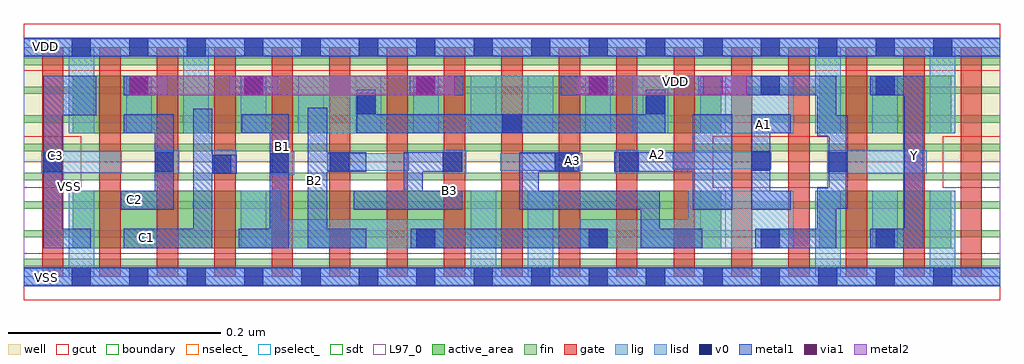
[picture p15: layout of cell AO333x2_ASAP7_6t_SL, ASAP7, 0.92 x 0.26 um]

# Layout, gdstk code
import gdstk
lib = gdstk.Library(unit=1e-6, precision=2.5e-10)
def R(c, l, rs):  # rectangles x0, y0, x1, y1
    for r in rs: c.add(gdstk.rectangle(r[:2], r[2:], *l))
def A(c, l, x, y, w, h, nx, ny, dx, dy):  # array of equal rectangles
    R(c, l, [(x+i*dx, y+j*dy, x+i*dx+w, y+j*dy+h) for i in range(nx) for j in range(ny)])
def P(c, l, *ps):  # polygons
    for p in ps: c.add(gdstk.Polygon(p, *l))
well = (1, 0)
fin = (2, 0)
gate = (7, 0)
gcut = (10, 0)
active_area = (11, 0)
nselect_ = (12, 0)
pselect_ = (13, 0)
lig = (16, 0)
lisd = (17, 0)
v0 = (18, 0)
metal1 = (19, 0)
metal2 = (20, 0)
via1 = (21, 0)
sdt = (88, 0)
L97_0 = (97, 0)
boundary = (100, 0)

ao333x2_asap7_6t_sl = lib.new_cell('AO333x2_ASAP7_6t_SL')
R(ao333x2_asap7_6t_sl, well, [(0,0.108,0.702,0.216), (0.702,0.108,0.918,0.216), (0.702,0.108,0.864,0.216)])
A(ao333x2_asap7_6t_sl, fin, 0, 0.01, 0.702, 0.007, 1, 8, 0, 0.027)
A(ao333x2_asap7_6t_sl, fin, 0.702, 0.01, 0.216, 0.007, 1, 8, 0, 0.027)
A(ao333x2_asap7_6t_sl, fin, 0.702, 0.01, 0.162, 0.007, 1, 8, 0, 0.027)
A(ao333x2_asap7_6t_sl, gate, 0.017, 0, 0.02, 0.216, 17, 1, 0.054, 0)
R(ao333x2_asap7_6t_sl, gcut, [(0,-0.022,0.918,0.022), (0,0.084,0.054,0.132), (0.648,0.084,0.756,0.132), (0.864,0.084,0.918,0.132), (0,0.194,0.918,0.238)])
R(ao333x2_asap7_6t_sl, active_area, [(0.046,0.027,0.656,0.081), (0.748,0.027,0.872,0.081), (0.748,0.027,0.818,0.081), (0.046,0.135,0.656,0.189), (0.748,0.135,0.872,0.189), (0.748,0.135,0.818,0.189)])
R(ao333x2_asap7_6t_sl, nselect_, [(0,0,0.702,0.108), (0.702,0,0.918,0.108), (0.702,0,0.864,0.108)])
R(ao333x2_asap7_6t_sl, pselect_, [(0,0.108,0.702,0.216), (0.702,0.108,0.918,0.216), (0.702,0.108,0.864,0.216)])
R(ao333x2_asap7_6t_sl, lig, [(0,-0.008,0.918,0.008), (0.231,0.096,0.254,0.118), (0.123,0.097,0.146,0.119), (0.177,0.097,0.2,0.119), (0.394,0.097,0.416,0.119), (0.556,0.097,0.578,0.119), (0.756,0.097,0.849,0.119), (0.016,0.098,0.092,0.118), (0.285,0.1,0.362,0.116), (0.448,0.1,0.525,0.116), (0.61,0.101,0.703,0.117), (0,0.208,0.918,0.224)])
A(ao333x2_asap7_6t_sl, lisd, 0.204, 0.135, 0.024, 0.054, 3, 1, 0.162, 0)
R(ao333x2_asap7_6t_sl, lisd, [(0.042,0,0.066,0.081), (0.42,0,0.444,0.081), (0.474,0,0.498,0.081), (0.744,0,0.768,0.081), (0.744,0,0.768,0.081), (0.852,0,0.876,0.081), (0.798,0.027,0.822,0.081), (0.798,0.027,0.822,0.081), (0.042,0.135,0.066,0.216), (0.096,0.135,0.12,0.189), (0.15,0.135,0.174,0.216), (0.258,0.135,0.336,0.189), (0.42,0.135,0.498,0.189), (0.572,0.135,0.606,0.189), (0.636,0.135,0.724,0.189), (0.744,0.135,0.768,0.216), (0.744,0.135,0.768,0.216), (0.798,0.135,0.822,0.189), (0.798,0.135,0.822,0.189), (0.852,0.135,0.876,0.216)])
P(ao333x2_asap7_6t_sl, lisd, [(0.395,0.054),(0.242,0.054),(0.242,0.081),(0.204,0.081),(0.204,0.027),(0.395,0.027)],
  [(0.724,0.081),(0.625,0.081),(0.625,0.054),(0.523,0.054),(0.523,0.027),(0.724,0.027)])
A(ao333x2_asap7_6t_sl, v0, 0.045, -0.009, 0.018, 0.018, 16, 2, 0.054, 0.216)
A(ao333x2_asap7_6t_sl, v0, 0.369, 0.027, 0.018, 0.018, 3, 1, 0.162, 0)
A(ao333x2_asap7_6t_sl, v0, 0.207, 0.171, 0.018, 0.018, 4, 1, 0.162, 0)
R(ao333x2_asap7_6t_sl, v0, [(0.801,0.027,0.819,0.045), (0.177,0.097,0.195,0.115), (0.231,0.098,0.249,0.116), (0.018,0.099,0.036,0.117), (0.123,0.099,0.141,0.117), (0.288,0.099,0.306,0.117), (0.394,0.099,0.412,0.117), (0.499,0.099,0.517,0.117), (0.56,0.099,0.578,0.117), (0.757,0.099,0.775,0.117), (0.684,0.1,0.702,0.118), (0.45,0.135,0.468,0.153), (0.313,0.153,0.331,0.171), (0.585,0.153,0.603,0.171), (0.099,0.171,0.117,0.189), (0.801,0.171,0.819,0.189)])
R(ao333x2_asap7_6t_sl, metal1, [(0,-0.009,0.918,0.009), (0.364,0.027,0.549,0.045), (0.094,0.171,0.135,0.189), (0.193,0.171,0.239,0.189), (0.363,0.171,0.413,0.189), (0.505,0.171,0.554,0.189), (0,0.207,0.918,0.225)])
P(ao333x2_asap7_6t_sl, metal1, [(0.846,0.189),(0.796,0.189),(0.796,0.171),(0.828,0.171),(0.828,0.045),(0.796,0.045),(0.796,0.027),(0.846,0.027)],
  [(0.775,0.152),(0.764,0.152),(0.764,0.189),(0.634,0.189),(0.634,0.171),(0.746,0.171),(0.746,0.132),(0.757,0.132),(0.757,0.084),(0.746,0.084),(0.746,0.045),(0.688,0.045),(0.688,0.027),(0.764,0.027),(0.764,0.064),(0.775,0.064)],
  [(0.721,0.081),(0.702,0.081),(0.702,0.135),(0.721,0.135),(0.721,0.153),(0.684,0.153),(0.684,0.063),(0.721,0.063)],
  [(0.666,0.153),(0.629,0.153),(0.629,0.117),(0.555,0.117),(0.555,0.099),(0.629,0.099),(0.629,0.063),(0.666,0.063)],
  [(0.638,0.045),(0.598,0.045),(0.598,0.081),(0.484,0.081),(0.484,0.099),(0.522,0.099),(0.522,0.117),(0.466,0.117),(0.466,0.063),(0.58,0.063),(0.58,0.027),(0.638,0.027)],
  [(0.603,0.176),(0.585,0.176),(0.585,0.153),(0.331,0.153),(0.331,0.176),(0.313,0.176),(0.313,0.135),(0.603,0.135)],
  [(0.412,0.081),(0.375,0.081),(0.375,0.099),(0.412,0.099),(0.412,0.117),(0.357,0.117),(0.357,0.081),(0.31,0.081),(0.31,0.063),(0.412,0.063)],
  [(0.322,0.045),(0.285,0.045),(0.285,0.099),(0.322,0.099),(0.322,0.117),(0.285,0.117),(0.285,0.159),(0.267,0.159),(0.267,0.027),(0.322,0.027)],
  [(0.249,0.153),(0.205,0.153),(0.205,0.135),(0.231,0.135),(0.231,0.045),(0.202,0.045),(0.202,0.027),(0.249,0.027)],
  [(0.2,0.115),(0.177,0.115),(0.177,0.158),(0.159,0.158),(0.159,0.045),(0.094,0.045),(0.094,0.027),(0.177,0.027),(0.177,0.097),(0.2,0.097)],
  [(0.141,0.153),(0.094,0.153),(0.094,0.135),(0.123,0.135),(0.123,0.081),(0.091,0.081),(0.091,0.063),(0.141,0.063)],
  [(0.063,0.045),(0.036,0.045),(0.036,0.152),(0.068,0.152),(0.068,0.189),(0.018,0.189),(0.018,0.027),(0.063,0.027)])
R(ao333x2_asap7_6t_sl, metal2, [(0.099,0.171,0.405,0.189), (0.521,0.171,0.68,0.189)])
A(ao333x2_asap7_6t_sl, via1, 0.207, 0.171, 0.018, 0.018, 3, 1, 0.162, 0)
R(ao333x2_asap7_6t_sl, via1, [(0.099,0.171,0.117,0.189), (0.639,0.171,0.657,0.189)])
A(ao333x2_asap7_6t_sl, sdt, 0.042, 0.135, 0.024, 0.054, 12, 1, 0.054, 0)
R(ao333x2_asap7_6t_sl, sdt, [(0.042,0.027,0.066,0.081), (0.204,0.027,0.228,0.081), (0.42,0.027,0.444,0.081), (0.474,0.027,0.498,0.081), (0.636,0.027,0.66,0.081), (0.744,0.027,0.768,0.081), (0.744,0.027,0.768,0.081), (0.798,0.027,0.822,0.081), (0.798,0.027,0.822,0.081), (0.852,0.027,0.876,0.081), (0.744,0.135,0.768,0.189), (0.744,0.135,0.768,0.189), (0.798,0.135,0.822,0.189), (0.798,0.135,0.822,0.189), (0.852,0.135,0.876,0.189)])
R(ao333x2_asap7_6t_sl, L97_0, [(0,0,0.702,0.216), (0.702,0,0.864,0.216), (0.702,0,0.918,0.216)])
R(ao333x2_asap7_6t_sl, boundary, [(0,0,0.702,0.216), (0.702,0,0.918,0.216), (0.702,0,0.864,0.216)])
ao333x2_asap7_6t_sl.add(gdstk.Label('VDD', (0.613,0.184), layer=1, texttype=251))
ao333x2_asap7_6t_sl.add(gdstk.Label('Y', (0.838,0.114), layer=19, texttype=251))
ao333x2_asap7_6t_sl.add(gdstk.Label('A3', (0.516,0.109), layer=19, texttype=251))
ao333x2_asap7_6t_sl.add(gdstk.Label('C3', (0.03,0.114), layer=19, texttype=251))
ao333x2_asap7_6t_sl.add(gdstk.Label('C2', (0.104,0.073), layer=19, texttype=251))
ao333x2_asap7_6t_sl.add(gdstk.Label('VSS', (0.021,-0.001), layer=19, texttype=251))
ao333x2_asap7_6t_sl.add(gdstk.Label('VDD', (0.02,0.217), layer=19, texttype=251))
ao333x2_asap7_6t_sl.add(gdstk.Label('C1', (0.115,0.037), layer=19, texttype=251))
ao333x2_asap7_6t_sl.add(gdstk.Label('B1', (0.243,0.123), layer=19, texttype=251))
ao333x2_asap7_6t_sl.add(gdstk.Label('A1', (0.696,0.143), layer=19, texttype=251))
ao333x2_asap7_6t_sl.add(gdstk.Label('A2', (0.596,0.115), layer=19, texttype=251))
ao333x2_asap7_6t_sl.add(gdstk.Label('B2', (0.273,0.091), layer=19, texttype=251))
ao333x2_asap7_6t_sl.add(gdstk.Label('B3', (0.4,0.081), layer=19, texttype=251))
ao333x2_asap7_6t_sl.add(gdstk.Label('VSS', (0.043,0.085), layer=3, texttype=251))

lib.write_gds('AO333x2_ASAP7_6t_SL.gds')
